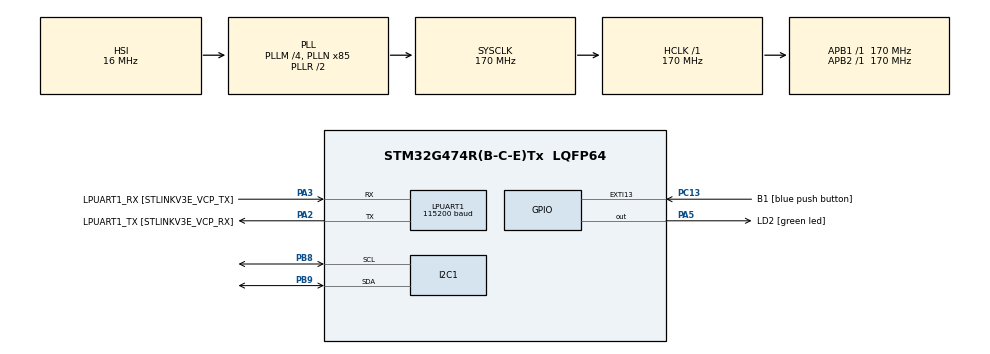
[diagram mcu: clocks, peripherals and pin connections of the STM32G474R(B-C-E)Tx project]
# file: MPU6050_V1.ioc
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I2C1.Timing=0x40B285C2
LPUART1.BaudRate=115200
Mcu.Family=STM32G4
Mcu.Name=STM32G474R(B-C-E)Tx
Mcu.Package=LQFP64
NVIC.EXTI15_10_IRQn=true\:0\:0\:false\:false\:true\:true\:true\:true
NVIC.PriorityGroup=NVIC_PRIORITYGROUP_4
NVIC.TIM1_UP_TIM16_IRQn=true\:0\:0\:false\:true\:true\:1\:true\:true\:true
PA13.GPIO_Label=T_SWDIO
PA13.Mode=Serial_Wire
PA13.Signal=SYS_JTMS-SWDIO
PA14.GPIO_Label=T_SWCLK
PA14.Mode=Serial_Wire
PA14.Signal=SYS_JTCK-SWCLK
PA2.GPIO_Label=LPUART1_TX [STLINKV3E_VCP_RX]
PA2.Mode=Asynchronous
PA2.Signal=LPUART1_TX
PA3.GPIO_Label=LPUART1_RX [STLINKV3E_VCP_TX]
PA3.Mode=Asynchronous
PA3.Signal=LPUART1_RX
PA5.GPIO_Label=LD2 [green led]
PA5.Signal=GPIO_Output
PB3.GPIO_Label=T_SWO
PB3.Signal=SYS_JTDO-SWO
PB8-BOOT0.Mode=I2C
PB8-BOOT0.Signal=I2C1_SCL
PB9.Mode=I2C
PB9.Signal=I2C1_SDA
PC13.GPIO_Label=B1 [blue push button]
PC13.Signal=GPXTI13
PC14-OSC32_IN.GPIO_Label=RCC_OSC32_IN
PC14-OSC32_IN.Mode=LSE-External-Oscillator
PC14-OSC32_IN.Signal=RCC_OSC32_IN
PC15-OSC32_OUT.GPIO_Label=RCC_OSC32_OUT
PC15-OSC32_OUT.Mode=LSE-External-Oscillator
PC15-OSC32_OUT.Signal=RCC_OSC32_OUT
PF0-OSC_IN.GPIO_Label=RCC_OSC_IN
PF0-OSC_IN.Mode=HSE-External-Oscillator
PF0-OSC_IN.Signal=RCC_OSC_IN
PF1-OSC_OUT.GPIO_Label=RCC_OSC_OUT
PF1-OSC_OUT.Mode=HSE-External-Oscillator
PF1-OSC_OUT.Signal=RCC_OSC_OUT
ProjectManager.HeapSize=0x200
ProjectManager.StackSize=0x400
ProjectManager.TargetToolchain=STM32CubeIDE
RCC.ADC12Freq_Value=170000000
RCC.ADC345Freq_Value=170000000
RCC.AHBFreq_Value=170000000
RCC.APB1Freq_Value=170000000
RCC.APB1TimFreq_Value=170000000
RCC.APB2Freq_Value=170000000
RCC.APB2TimFreq_Value=170000000
RCC.CortexFreq_Value=170000000
RCC.EXTERNAL_CLOCK_VALUE=12288000
RCC.HCLKFreq_Value=170000000
RCC.HSE_VALUE=24000000
RCC.HSI48_VALUE=48000000
RCC.HSI_VALUE=16000000
RCC.PLLM=RCC_PLLM_DIV4
RCC.PLLN=85
RCC.RTCClockSelection=RCC_RTCCLKSOURCE_LSE
RCC.SYSCLKFreq_VALUE=170000000
RCC.SYSCLKSource=RCC_SYSCLKSOURCE_PLLCLK
RCC.USBFreq_Value=170000000
RCC.VCOOutputFreq_Value=340000000
TIM1.Channel-Output\ Compare1\ No\ Output=TIM_CHANNEL_1
TIM1.PeriodNoDither=999
TIM1.Prescaler=16999
VP_SYS_VS_DBSignals.Mode=DisableDeadBatterySignals
VP_TIM1_VS_ClockSourceINT.Mode=Internal
VP_TIM1_VS_no_output1.Mode=Output Compare1 No Output
board=NUCLEO-G474RE

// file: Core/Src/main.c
/* USER CODE BEGIN Header */
/**
  ******************************************************************************
  * @file           : main.c
  * @brief          : Main program body
  ******************************************************************************
  * @attention
  *
  * Copyright (c) 2025 STMicroelectronics.
  * All rights reserved.
  *
  * This software is licensed under terms that can be found in the LICENSE file
  * in the root directory of this software component.
  * If no LICENSE file comes with this software, it is provided AS-IS.
  *
  ******************************************************************************
  */
/* USER CODE END Header */
#include "main.h"
#include "i2c.h"
#include "usart.h"
#include "tim.h"
#include "gpio.h"

/* USER CODE BEGIN Includes */
#include "MPU6050.h"
#include "string.h"
#include "stdio.h"
/* USER CODE END Includes */

/* USER CODE BEGIN PV */
//MPU6050 variables
MPU6050_t MPU6050;
float RollAccel  = 0.00;
float PitchAccel = 0.00;

float RollGyro = 0.00;
float PitchGyro = 0.00;
float YawGyro = 0.00;

float RollFinal = 0.00;
float PitchFinal = 0.00;
float YawFinal = 0.00;
volatile uint8_t FlagGetDegreeIt;

char Message[128];
/* USER CODE END PV */

void SystemClock_Config(void);
static void MX_NVIC_Init(void);

int main(void)
{

  /* MCU Configuration--------------------------------------------------------*/

  /* Reset of all peripherals, Initializes the Flash interface and the Systick. */
  HAL_Init();

  /* Configure the system clock */
  SystemClock_Config();

  /* Initialize all configured peripherals */
  MX_GPIO_Init();
  MX_I2C1_Init();
  MX_LPUART1_UART_Init();
  MX_TIM1_Init();

  /* Initialize interrupts */
  MX_NVIC_Init();
  /* USER CODE BEGIN 2 */
  MPU6050_Init(&MPU6050, &hi2c1, 0x68);

  HAL_TIM_Base_Start_IT(&htim1);
  /* USER CODE END 2 */

  /* Infinite loop */
  /* USER CODE BEGIN WHILE */
  while (1)
  {

	  if(FlagGetDegreeIt)
	  {
		  FlagGetDegreeIt = 0;
		  MPU6050_DegFromAccel(&MPU6050, &RollAccel, &PitchAccel);
		  MPU6050_DegFromGyro(&MPU6050, &RollGyro, &PitchGyro, &YawGyro);
		  MPU6050_Angle(&MPU6050, &RollFinal, &PitchFinal, &YawFinal);
		  sprintf(Message, "%.3f, %.3f\n", RollGyro, PitchGyro);
		  HAL_UART_Transmit(&hlpuart1,(uint8_t*) Message, strlen(Message), HAL_MAX_DELAY);
	  }

    /* USER CODE END WHILE */

  }
}

void SystemClock_Config(void)
{
  RCC_OscInitTypeDef RCC_OscInitStruct = {0};
  RCC_ClkInitTypeDef RCC_ClkInitStruct = {0};

  /** Configure the main internal regulator output voltage
  */
  HAL_PWREx_ControlVoltageScaling(PWR_REGULATOR_VOLTAGE_SCALE1_BOOST);

  /** Initializes the RCC Oscillators according to the specified parameters
  * in the RCC_OscInitTypeDef structure.
  */
  RCC_OscInitStruct.OscillatorType = RCC_OSCILLATORTYPE_HSI;
  RCC_OscInitStruct.HSIState = RCC_HSI_ON;
  RCC_OscInitStruct.HSICalibrationValue = RCC_HSICALIBRATION_DEFAULT;
  RCC_OscInitStruct.PLL.PLLState = RCC_PLL_ON;
  RCC_OscInitStruct.PLL.PLLSource = RCC_PLLSOURCE_HSI;
  RCC_OscInitStruct.PLL.PLLM = RCC_PLLM_DIV4;
  RCC_OscInitStruct.PLL.PLLN = 85;
  RCC_OscInitStruct.PLL.PLLP = RCC_PLLP_DIV2;
  RCC_OscInitStruct.PLL.PLLQ = RCC_PLLQ_DIV2;
  RCC_OscInitStruct.PLL.PLLR = RCC_PLLR_DIV2;
  if (HAL_RCC_OscConfig(&RCC_OscInitStruct) != HAL_OK)
  {
    Error_Handler();
  }

  /** Initializes the CPU, AHB and APB buses clocks
  */
  RCC_ClkInitStruct.ClockType = RCC_CLOCKTYPE_HCLK|RCC_CLOCKTYPE_SYSCLK
                              |RCC_CLOCKTYPE_PCLK1|RCC_CLOCKTYPE_PCLK2;
  RCC_ClkInitStruct.SYSCLKSource = RCC_SYSCLKSOURCE_PLLCLK;
  RCC_ClkInitStruct.AHBCLKDivider = RCC_SYSCLK_DIV1;
  RCC_ClkInitStruct.APB1CLKDivider = RCC_HCLK_DIV1;
  RCC_ClkInitStruct.APB2CLKDivider = RCC_HCLK_DIV1;

  if (HAL_RCC_ClockConfig(&RCC_ClkInitStruct, FLASH_LATENCY_4) != HAL_OK)
  {
    Error_Handler();
  }
}

/**
  * @brief NVIC Configuration.
  * @retval None
  */
static void MX_NVIC_Init(void)
{
  /* TIM1_UP_TIM16_IRQn interrupt configuration */
  HAL_NVIC_SetPriority(TIM1_UP_TIM16_IRQn, 0, 0);
  HAL_NVIC_EnableIRQ(TIM1_UP_TIM16_IRQn);
}

/* USER CODE BEGIN 4 */
void HAL_TIM_PeriodElapsedCallback(TIM_HandleTypeDef *htim)
{
	if(htim->Instance == TIM1)
	{
		FlagGetDegreeIt = 1;
	}
}
/* USER CODE END 4 */

void Error_Handler(void)
{
  __disable_irq();
  while (1)
  {
  }
}
